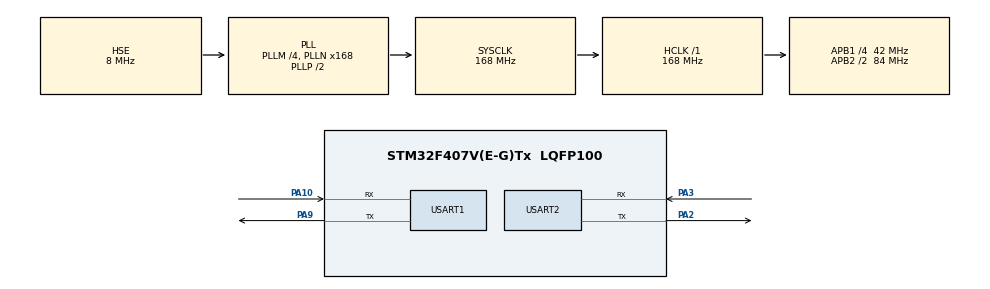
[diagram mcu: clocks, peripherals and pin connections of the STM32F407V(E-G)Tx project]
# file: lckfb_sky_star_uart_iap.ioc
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Mcu.Family=STM32F4
Mcu.Name=STM32F407V(E-G)Tx
Mcu.Package=LQFP100
NVIC.PriorityGroup=NVIC_PRIORITYGROUP_4
PA10.Mode=Asynchronous
PA10.Signal=USART1_RX
PA13.Mode=Serial_Wire
PA13.Signal=SYS_JTMS-SWDIO
PA14.Mode=Serial_Wire
PA14.Signal=SYS_JTCK-SWCLK
PA2.Mode=Asynchronous
PA2.Signal=USART2_TX
PA3.Mode=Asynchronous
PA3.Signal=USART2_RX
PA9.Mode=Asynchronous
PA9.Signal=USART1_TX
PC14-OSC32_IN.Mode=LSE-External-Oscillator
PC14-OSC32_IN.Signal=RCC_OSC32_IN
PC15-OSC32_OUT.Mode=LSE-External-Oscillator
PC15-OSC32_OUT.Signal=RCC_OSC32_OUT
PH0-OSC_IN.Mode=HSE-External-Oscillator
PH0-OSC_IN.Signal=RCC_OSC_IN
PH1-OSC_OUT.Mode=HSE-External-Oscillator
PH1-OSC_OUT.Signal=RCC_OSC_OUT
ProjectManager.HeapSize=0x200
ProjectManager.StackSize=0x400
ProjectManager.TargetToolchain=MDK-ARM V5.32
RCC.48MHZClocksFreq_Value=84000000
RCC.AHBFreq_Value=168000000
RCC.APB1CLKDivider=RCC_HCLK_DIV4
RCC.APB1Freq_Value=42000000
RCC.APB1TimFreq_Value=84000000
RCC.APB2CLKDivider=RCC_HCLK_DIV2
RCC.APB2Freq_Value=84000000
RCC.APB2TimFreq_Value=168000000
RCC.CortexFreq_Value=168000000
RCC.HCLKFreq_Value=168000000
RCC.HSE_VALUE=8000000
RCC.HSI_VALUE=16000000
RCC.PLLM=4
RCC.PLLN=168
RCC.PLLSourceVirtual=RCC_PLLSOURCE_HSE
RCC.SYSCLKFreq_VALUE=168000000
RCC.SYSCLKSource=RCC_SYSCLKSOURCE_PLLCLK
RCC.VCOOutputFreq_Value=336000000
USART1.VirtualMode=VM_ASYNC
USART2.VirtualMode=VM_ASYNC
board=custom

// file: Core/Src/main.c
/* USER CODE BEGIN Header */
/**
  ******************************************************************************
  * @file           : main.c
  * @brief          : Main program body
  ******************************************************************************
  * @attention
  *
  * Copyright (c) 2025 STMicroelectronics.
  * All rights reserved.
  *
  * This software is licensed under terms that can be found in the LICENSE file
  * in the root directory of this software component.
  * If no LICENSE file comes with this software, it is provided AS-IS.
  *
  ******************************************************************************
  */
/* USER CODE END Header */
#include "main.h"
#include "usart.h"
#include "gpio.h"

/* USER CODE BEGIN Includes */
#include <stdio.h>
#include <string.h>
/* USER CODE END Includes */

/* USER CODE BEGIN PTD */
typedef  void (*IAP_FUN)(void);
/* USER CODE END PTD */

/* USER CODE BEGIN PD */
//STM32F407VET6 的 FLASH 操作完全以扇区为最小擦除 / 管理单位（无 “页” 的概念）
//其扇区大小并非统一值，而是按 “差异化划分” 设计（前 4 个小扇区、1 个中等扇区、7 个大扇区）
//STM32F407VET6 扇区大小 & 地址范围（精准版）
//扇区编号			起始地址	结束地址	大小	十六进制大小	备注
//FLASH_SECTOR_0	0x08000000	0x08003FFF	16 KB	0x4000	适合存放 Bootloader（小容量、频繁更新）
//FLASH_SECTOR_1	0x08004000	0x08007FFF	16 KB	0x4000
//FLASH_SECTOR_2	0x08008000	0x0800BFFF	16 KB	0x4000
//FLASH_SECTOR_3	0x0800C000	0x0800FFFF	16 KB	0x4000
//FLASH_SECTOR_4	0x08010000	0x0801FFFF	64 KB	0x10000	中等扇区
//FLASH_SECTOR_5	0x08020000	0x0803FFFF	128 KB	0x20000	适合存放 APP 固件（大容量）
//FLASH_SECTOR_6	0x08040000	0x0805FFFF	128 KB	0x20000
//FLASH_SECTOR_7	0x08060000	0x0807FFFF	128 KB	0x20000
//FLASH_SECTOR_8	0x08080000	0x0809FFFF	128 KB	0x20000
//FLASH_SECTOR_9	0x080A0000	0x080BFFFF	128 KB	0x20000
//FLASH_SECTOR_10	0x080C0000	0x080DFFFF	128 KB	0x20000
//FLASH_SECTOR_11	0x080E0000	0x080FFFFF	128 KB	0x20000

//把这个bootloader可以看为也是一个App，不过作用有点特殊而已，主要作用是接受固件，写固件到flash，然后将MSP(SP)主栈指针指向新的App
//立创天空星STM32F407VET6: 主频:168MHz flash:512KB SRAM:196KB
#define SRAM_App_Start_Addr			((uint32_t)0x20010000)							//初始运行用户自定义的bootloader 指定SRAM起始地址
#define SRAM_App_Size				(0xC000)										//如果App较小 App在SRAM运行时可以限定一下其占SRAM的范围
#define SRAM_App_End_Addr			((uint32_t)(SRAM_App_Start_Addr+SRAM_App_Size))	//初始运行用户自定义的bootloader 指定SRAM结束地址 这是运行bootloader需要的SRAM限定空间
#define Flash_Start_Addr			((uint32_t)0x08000000)							//指定Flash起始地址:0x08000000
#define Bootloader_Size				(0xFFFF)											//大小，64KB，1个sector:16 KB,Bootloader直接使用前4个sector
#define Application_Start_Addr		(Flash_Start_Addr + Bootloader_Size+1 + 0xFFFF+1)	//App的起始地址:0x08020000 把app放在bootloader后面的0x08020000  App直接使用2个sector
#define	Update_CMD	                 "update"										//擦除并升级指令 开始升级
#define Application_Size			(1024 * 128 * 2)								//App大小256KB
#define Application_End_Addr		((uint32_t)(Application_Start_Addr+Application_Size))	//App的结束地址:0x0805FFFF

#define AppFirmwareImageBuf_Size	(256) //App固件接收缓冲区，一包是256B

#define IAP_UART_Port huart1
/* USER CODE END PD */

/* USER CODE BEGIN PV */
uint8_t AppFirmwareImageBuf[AppFirmwareImageBuf_Size] = {0}; //一片/一包固件  建议不要在栈上开辟数组
IAP_FUN Jump_To_App; //函数指针
uint8_t bootloader_flag = 0; //是否升级标志
uint8_t time_out_flag = 0; //超时标记

/* USER CODE END PV */

void SystemClock_Config(void);

/* USER CODE BEGIN 0 */
//重定向
int fputc(int ch, FILE *f)
{
	HAL_UART_Transmit(&IAP_UART_Port, (const uint8_t *)&ch, 1, 1000);
	return ch;
}

/* USER CODE END 0 */

int main(void)
{

  /* MCU Configuration--------------------------------------------------------*/

  /* Reset of all peripherals, Initializes the Flash interface and the Systick. */
  HAL_Init();

  /* Configure the system clock */
  SystemClock_Config();

  /* Initialize all configured peripherals */
  MX_GPIO_Init();
  MX_USART1_UART_Init();
  MX_USART2_UART_Init();
  /* USER CODE BEGIN 2 */
	printf("bootloader is running\r\n");
	printf("Let's do it\r\n");

	//判断是否更新
	for(uint8_t i = 0; i < 10; i++)
	{
		printf("在十秒内输入: update 即更新App 计时: %d 秒\r\n", (i+1));
		//上电后阻塞10秒等待接收升级指令，连续10秒未收到则跳转App
		//如果10秒内收到，则接收App数据并擦写写入
		HAL_UART_Receive(&IAP_UART_Port, AppFirmwareImageBuf, AppFirmwareImageBuf_Size, 1000); //阻塞等待升级命令

		if(strstr((const char *)AppFirmwareImageBuf, Update_CMD) != NULL) //在发来的数据里查找update字符串
		{
			FLASH_EraseInitTypeDef EraseInitStruct; //需要擦除的地方

			uint32_t SectorError; //Sector操作返回值

			HAL_FLASH_Unlock(); //解锁

			EraseInitStruct.TypeErase = FLASH_TYPEERASE_SECTORS;	//操作sector 指定擦除类型（扇区擦除 / 全片擦除）
			EraseInitStruct.Banks = FLASH_BANK_1; //全片擦除时指定要擦除的 FLASH 存储体（Bank） F407 只有FLASH_BANK_1（1MB FLASH 仅占 Bank1）；
			EraseInitStruct.Sector = FLASH_SECTOR_5; //扇区擦除时指定起始扇区（从哪个扇区开始擦） F407 取值：FLASH_SECTOR_0 ~ FLASH_SECTOR_11（共 12 个扇区）
			EraseInitStruct.NbSectors = 2; //扇区擦除时指定要擦除的扇区数量（连续擦除多少个） 取值范围：1 ≤ NbSectors ≤ (总扇区数 - 起始扇区编号)（F407 总扇区 12，比如起始扇区 5 → 最大可设 7）
			EraseInitStruct.VoltageRange = FLASH_VOLTAGE_RANGE_3; //指定芯片供电电压范围（决定 FLASH 擦除的并行度 / 速度）

			if(HAL_FLASHEx_Erase(&EraseInitStruct, &SectorError) != HAL_OK) //擦除App空间
			{
				HAL_FLASH_Lock(); //上锁
				printf("------------Erase fail at:0x%x\r\n",SectorError);
				return -1;
			}

			HAL_FLASH_Lock(); //上锁
			bootloader_flag = 1; //升级启动
			printf("------------Erase OK\r\n");
			break; //跳出等待
		}
	}

	//是否进入升级
	if(bootloader_flag == 1)
	{
		HAL_StatusTypeDef ret = HAL_ERROR; //存储判断返回值
		uint32_t CurrentAppAddr = 0; //当前写的地址
		uint32_t Data_Word = 0; //一个字的缓存值
		uint8_t packet_count = 0; //记录接收多少包

		printf("------------ready to receive bin, please send in 30s\r\n");

		CurrentAppAddr = Application_Start_Addr; //以App起始地址开始

		ret = HAL_UART_Receive(&IAP_UART_Port, AppFirmwareImageBuf, AppFirmwareImageBuf_Size, 30*1000); //用串口工具发bin文件 30S内必须要接收到

		if(ret == HAL_TIMEOUT)
		{
			printf("------------time out, end wait to receive bin\r\n");
			return -1;
		} else if (ret == HAL_OK) {
			//收到则循环接收，每秒阻塞接收256字节，并写入Flash
			while(1)
			{
				HAL_FLASH_Unlock();

				for(uint8_t i = 0; i < AppFirmwareImageBuf_Size/4; i++)
				{
					Data_Word = *((uint32_t *)(&AppFirmwareImageBuf[i << 2])); //i << 2 等价于 i * 4（左移 n 位 = 乘以 2^n，2^2=4）即步进4个字节
					if(CurrentAppAddr < Application_End_Addr)
					{
						if(HAL_FLASH_Program(FLASH_TYPEPROGRAM_WORD, CurrentAppAddr, Data_Word) == HAL_OK) //写入一个字的数据
						{
							CurrentAppAddr += 4;
						}else{
							HAL_FLASH_Lock();
							printf("------------write flash fail at: 0x%x\r\n", CurrentAppAddr);
							return -1;
						}
					}
				} //接收完一包

				HAL_FLASH_Lock();
				printf("------------write 256 btye OK: 0x%x\t%d\r\n", CurrentAppAddr, ++packet_count);

				ret = HAL_UART_Receive(&IAP_UART_Port, AppFirmwareImageBuf, AppFirmwareImageBuf_Size, 2*1000); //2秒内阻塞式等待
				if(ret == HAL_TIMEOUT) //没有数据发来就默认发完bin文件就跳转到启动App
				{
					time_out_flag++;
					if(time_out_flag == 2) //第二次超时就退出
					{
						printf("------------End write OK\r\n");
						goto START_APP; //写入完App后尝试跳转
					}
				}
			}
		}
	}else{ //bootloader_flag =0
START_APP:
		printf("------------start user app\r\n");
		HAL_Delay(10);

		/*
        校验App有效性：Flash中App起始地址存储的是App的中断向量表（第一项就是栈顶指针MSP(SP)  第二项“复位地址”）
        向量表第1个4字节：App的栈顶地址（MSP），需落在芯片合法SRAM区间内
		*/
		printf("------------Application_Start_Addr:%0x\r\n", *(unsigned int *)Application_Start_Addr); //没有App的情况下去访问的值为0xFFFFFFFF(擦除状态)

		//由KEIL做出来的bin文件，在编译出的时候在魔法棒里会调整整个App程序的链接Flash的入口地址以及SRAM起始地址，比如这里面的Application_Start_Addr:0x08020000
		//在这里面的宏定义Application_Start_Addr是一个宏定义的32位数据，是App空间的起始（写入Flash）地址
		//去访问Application_Start_Addr（0x08020000）这个地址上的值，以unsigned int*访问，即访问到32位的数据，这个数据就是以后App在SRAM运行起来的栈顶指针(地址)
		//然后在下面去判断这个App在SRAM运行起来的栈顶指针(地址) 是否是符合：bootloader和做固件的时候是一同规定的App栈顶指针在限定的SRAM里面所处于的范围
		//由于后续App的固件大小不确定，然后编译出来的bin固件文件里MSP里装的栈顶指针(地址)，这个栈顶实在编译和链接Flash/SRAM过程当中决定的，这个栈顶只能在魔法棒的SRAM起始地址和其大小限定的那个范围里
		//如果属于这个限定的范围内就成功完成校验，然后跳转
		if( ((*(unsigned int *)Application_Start_Addr) >= SRAM_App_Start_Addr) &&
			((*(unsigned int *)Application_Start_Addr) <= SRAM_App_End_Addr)
			)
		{
			//关中断 防止被打断 在App里记得需要开启中断
			__disable_irq();
			//Application_Start_Addr+4 放的是中断向量表的第二项“复位地址” (第一项就是栈顶指针MSP(SP))
			__set_MSP(*(unsigned int *)Application_Start_Addr); //手动指定MSP到新App起始地址
			Jump_To_App = (IAP_FUN)*(unsigned int *)(Application_Start_Addr + 4); //将复位函数指针移到(新App起始地址+4)   Jump_To_App就是函数指针
			Jump_To_App(); //调用复用函数
		}else{
			printf("the value of MSP error\r\n");
		}
	}
  /* USER CODE END 2 */

  /* Infinite loop */
  while (1)
  {

    /* USER CODE BEGIN 3 */
	  printf("------------defualt bootloader is running and no app\r\n");
	  HAL_Delay(150);
  }
  /* USER CODE END 3 */
}

void SystemClock_Config(void)
{
  RCC_OscInitTypeDef RCC_OscInitStruct = {0};
  RCC_ClkInitTypeDef RCC_ClkInitStruct = {0};

  /** Configure the main internal regulator output voltage
  */
  __HAL_RCC_PWR_CLK_ENABLE();
  __HAL_PWR_VOLTAGESCALING_CONFIG(PWR_REGULATOR_VOLTAGE_SCALE1);

  /** Initializes the RCC Oscillators according to the specified parameters
  * in the RCC_OscInitTypeDef structure.
  */
  RCC_OscInitStruct.OscillatorType = RCC_OSCILLATORTYPE_HSE;
  RCC_OscInitStruct.HSEState = RCC_HSE_ON;
  RCC_OscInitStruct.PLL.PLLState = RCC_PLL_ON;
  RCC_OscInitStruct.PLL.PLLSource = RCC_PLLSOURCE_HSE;
  RCC_OscInitStruct.PLL.PLLM = 4;
  RCC_OscInitStruct.PLL.PLLN = 168;
  RCC_OscInitStruct.PLL.PLLP = RCC_PLLP_DIV2;
  RCC_OscInitStruct.PLL.PLLQ = 4;
  if (HAL_RCC_OscConfig(&RCC_OscInitStruct) != HAL_OK)
  {
    Error_Handler();
  }

  /** Initializes the CPU, AHB and APB buses clocks
  */
  RCC_ClkInitStruct.ClockType = RCC_CLOCKTYPE_HCLK|RCC_CLOCKTYPE_SYSCLK
                              |RCC_CLOCKTYPE_PCLK1|RCC_CLOCKTYPE_PCLK2;
  RCC_ClkInitStruct.SYSCLKSource = RCC_SYSCLKSOURCE_PLLCLK;
  RCC_ClkInitStruct.AHBCLKDivider = RCC_SYSCLK_DIV1;
  RCC_ClkInitStruct.APB1CLKDivider = RCC_HCLK_DIV4;
  RCC_ClkInitStruct.APB2CLKDivider = RCC_HCLK_DIV2;

  if (HAL_RCC_ClockConfig(&RCC_ClkInitStruct, FLASH_LATENCY_5) != HAL_OK)
  {
    Error_Handler();
  }
}

void Error_Handler(void)
{
  __disable_irq();
  while (1)
  {
  }
}
